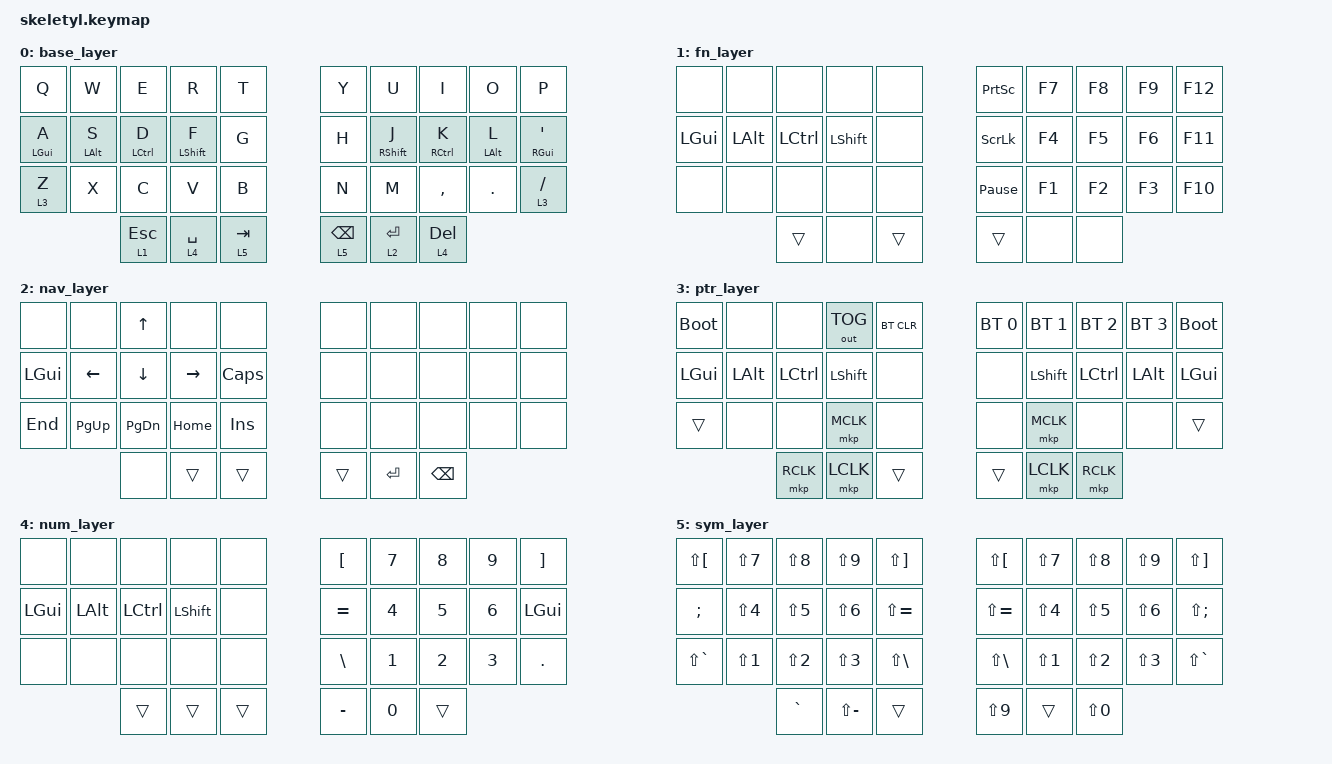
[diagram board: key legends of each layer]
/*
 * Skeletyl (LAYOUT_split_3x5_3, 36 keys) ZMK keymap.
 * Translated from Vial export ll.vil (2023-02-01) - a 34-key
 * LAYOUT_split_3x5_2 map. Positions 32 and 33 are NEW; see README.
 * PTR layer: output toggle, BT clear and BT profiles 0-3 fill dead top-row slots.
 *
 *   0  1  2  3  4        5  6  7  8  9
 *  10 11 12 13 14       15 16 17 18 19
 *  20 21 22 23 24       25 26 27 28 29
 *        30 31 32       33 34 35
 */

#include <behaviors.dtsi>
#include <dt-bindings/zmk/keys.h>
#include <dt-bindings/zmk/bt.h>
#include <dt-bindings/zmk/outputs.h>
#include <dt-bindings/zmk/mouse.h>

#define BASE 0
#define FN   1
#define NAV  2
#define PTR  3
#define NUM  4
#define SYM  5

// Tap then hold a layer-tap key (thumbs, Z, /) to auto-repeat its tap key.
&lt {
    quick-tap-ms = <200>;
};

/ {
    behaviors {
        // Home-row mods, split left/right so a hold only registers when
        // combined with a key on the OPPOSITE half (or a thumb). Stock
        // &mt has no positional guard and misfires badly at 36 keys.
        hml: homerow_mod_left {
            compatible = "zmk,behavior-hold-tap";
            #binding-cells = <2>;
            flavor = "balanced";
            tapping-term-ms = <280>;
            quick-tap-ms = <300>;
            require-prior-idle-ms = <150>;
            bindings = <&kp>, <&kp>;
            // + left bottom row, so same-hand shortcuts work: Cmd+Z/X/C/V/B (A+V), Ctrl+V (D+V)
            hold-trigger-key-positions = <5 6 7 8 9 15 16 17 18 19 20 21 22 23 24 25 26 27 28 29 30 31 32 33 34 35>;
            hold-trigger-on-release;
        };

        // S (Alt) only: tap-preferred. A key pressed while S is down never
        // turns it into Alt; Alt needs S held alone for the tapping term.
        // Fixes lost "s" when S is held a little long while typing.
        hms: homerow_mod_slow {
            compatible = "zmk,behavior-hold-tap";
            #binding-cells = <2>;
            flavor = "tap-preferred";
            tapping-term-ms = <280>;
            quick-tap-ms = <300>;
            require-prior-idle-ms = <150>;
            bindings = <&kp>, <&kp>;
        };

        // Shift (F, J): like the old QMK board. Shift after 200 ms of hold,
        // no "typing fast = always tap" window, so ? (F + /) and capitals
        // right after a space work. Same-hand keys still never trigger it.
        hsl: homerow_shift_left {
            compatible = "zmk,behavior-hold-tap";
            #binding-cells = <2>;
            flavor = "balanced";
            tapping-term-ms = <200>;
            quick-tap-ms = <300>;
            bindings = <&kp>, <&kp>;
            hold-trigger-key-positions = <5 6 7 8 9 15 16 17 18 19 25 26 27 28 29 30 31 32 33 34 35>;
            hold-trigger-on-release;
        };

        hsr: homerow_shift_right {
            compatible = "zmk,behavior-hold-tap";
            #binding-cells = <2>;
            flavor = "balanced";
            tapping-term-ms = <200>;
            quick-tap-ms = <300>;
            bindings = <&kp>, <&kp>;
            hold-trigger-key-positions = <0 1 2 3 4 10 11 12 13 14 20 21 22 23 24 30 31 32 33 34 35>;
            hold-trigger-on-release;
        };

        hmr: homerow_mod_right {
            compatible = "zmk,behavior-hold-tap";
            #binding-cells = <2>;
            flavor = "balanced";
            tapping-term-ms = <280>;
            quick-tap-ms = <300>;
            require-prior-idle-ms = <150>;
            bindings = <&kp>, <&kp>;
            hold-trigger-key-positions = <0 1 2 3 4 10 11 12 13 14 20 21 22 23 24 30 31 32 33 34 35>;
            hold-trigger-on-release;
        };
    };

    keymap {
        compatible = "zmk,keymap";

        base_layer {
            bindings = <
    &kp Q            &kp W            &kp E            &kp R            &kp T              &kp Y            &kp U            &kp I            &kp O            &kp P
    &hml LGUI A      &hms LALT S      &hml LCTRL D     &hsl LSHFT F     &kp G              &kp H            &hsr RSHFT J     &hmr RCTRL K     &hmr LALT L      &hmr RGUI SQT
    &lt 3 Z          &kp X            &kp C            &kp V            &kp B              &kp N            &kp M            &kp COMMA        &kp DOT          &lt 3 FSLH
                                      &lt 1 ESC        &lt 4 SPACE      &lt 5 TAB          &lt 5 BSPC       &lt 2 RET        &lt 4 DEL
            >;
        };

        fn_layer {
            bindings = <
    &none            &none            &none            &none            &none              &kp PSCRN        &kp F7           &kp F8           &kp F9           &kp F12
    &kp LGUI         &kp LALT         &kp LCTRL        &kp LSHFT        &none              &kp SLCK         &kp F4           &kp F5           &kp F6           &kp F11
    &none            &none            &none            &none            &none              &kp PAUSE_BREAK  &kp F1           &kp F2           &kp F3           &kp F10
                                      &trans           &none            &trans             &trans           &none            &none
            >;
        };

        nav_layer {
            bindings = <
    &none            &none            &kp UP           &none            &none              &none            &none            &none            &none            &none
    &kp LGUI         &kp LEFT         &kp DOWN         &kp RIGHT        &kp CAPS           &none            &none            &none            &none            &none
    &kp END          &kp PG_UP        &kp PG_DN        &kp HOME         &kp INS            &none            &none            &none            &none            &none
                                      &none            &trans           &trans             &trans           &kp RET          &kp BSPC
            >;
        };

        ptr_layer {
            bindings = <
    &bootloader      &none            &none            &out OUT_TOG     &bt BT_CLR         &bt BT_SEL 0     &bt BT_SEL 1     &bt BT_SEL 2     &bt BT_SEL 3     &bootloader
    &kp LGUI         &kp LALT         &kp LCTRL        &kp LSHFT        &none              &none            &kp LSHFT        &kp LCTRL        &kp LALT         &kp LGUI
    &trans           &none            &none            &mkp MCLK        &none              &none            &mkp MCLK        &none            &none            &trans
                                      &mkp RCLK        &mkp LCLK        &trans             &trans           &mkp LCLK        &mkp RCLK
            >;
        };

        num_layer {
            bindings = <
    &none            &none            &none            &none            &none              &kp LBKT         &kp N7           &kp N8           &kp N9           &kp RBKT
    &kp LGUI         &kp LALT         &kp LCTRL        &kp LSHFT        &none              &kp EQUAL        &kp N4           &kp N5           &kp N6           &kp LGUI
    &none            &none            &none            &none            &none              &kp BSLH         &kp N1           &kp N2           &kp N3           &kp DOT
                                      &trans           &trans           &trans             &kp MINUS           &kp N0           &trans
            >;
        };

        sym_layer {
            bindings = <
    &kp LS(LBKT)     &kp LS(N7)       &kp LS(N8)       &kp LS(N9)       &kp LS(RBKT)       &kp LS(LBKT)     &kp LS(N7)       &kp LS(N8)       &kp LS(N9)       &kp LS(RBKT)
    &kp SEMI         &kp LS(N4)       &kp LS(N5)       &kp LS(N6)       &kp LS(EQUAL)      &kp LS(EQUAL)    &kp LS(N4)       &kp LS(N5)       &kp LS(N6)       &kp LS(SEMI)
    &kp LS(GRAVE)    &kp LS(N1)       &kp LS(N2)       &kp LS(N3)       &kp LS(BSLH)       &kp LS(BSLH)     &kp LS(N1)       &kp LS(N2)       &kp LS(N3)       &kp LS(GRAVE)
                                      &kp GRAVE        &kp LS(MINUS)    &trans             &kp LS(N9)       &trans           &kp LS(N0)
            >;
        };

    };
};
